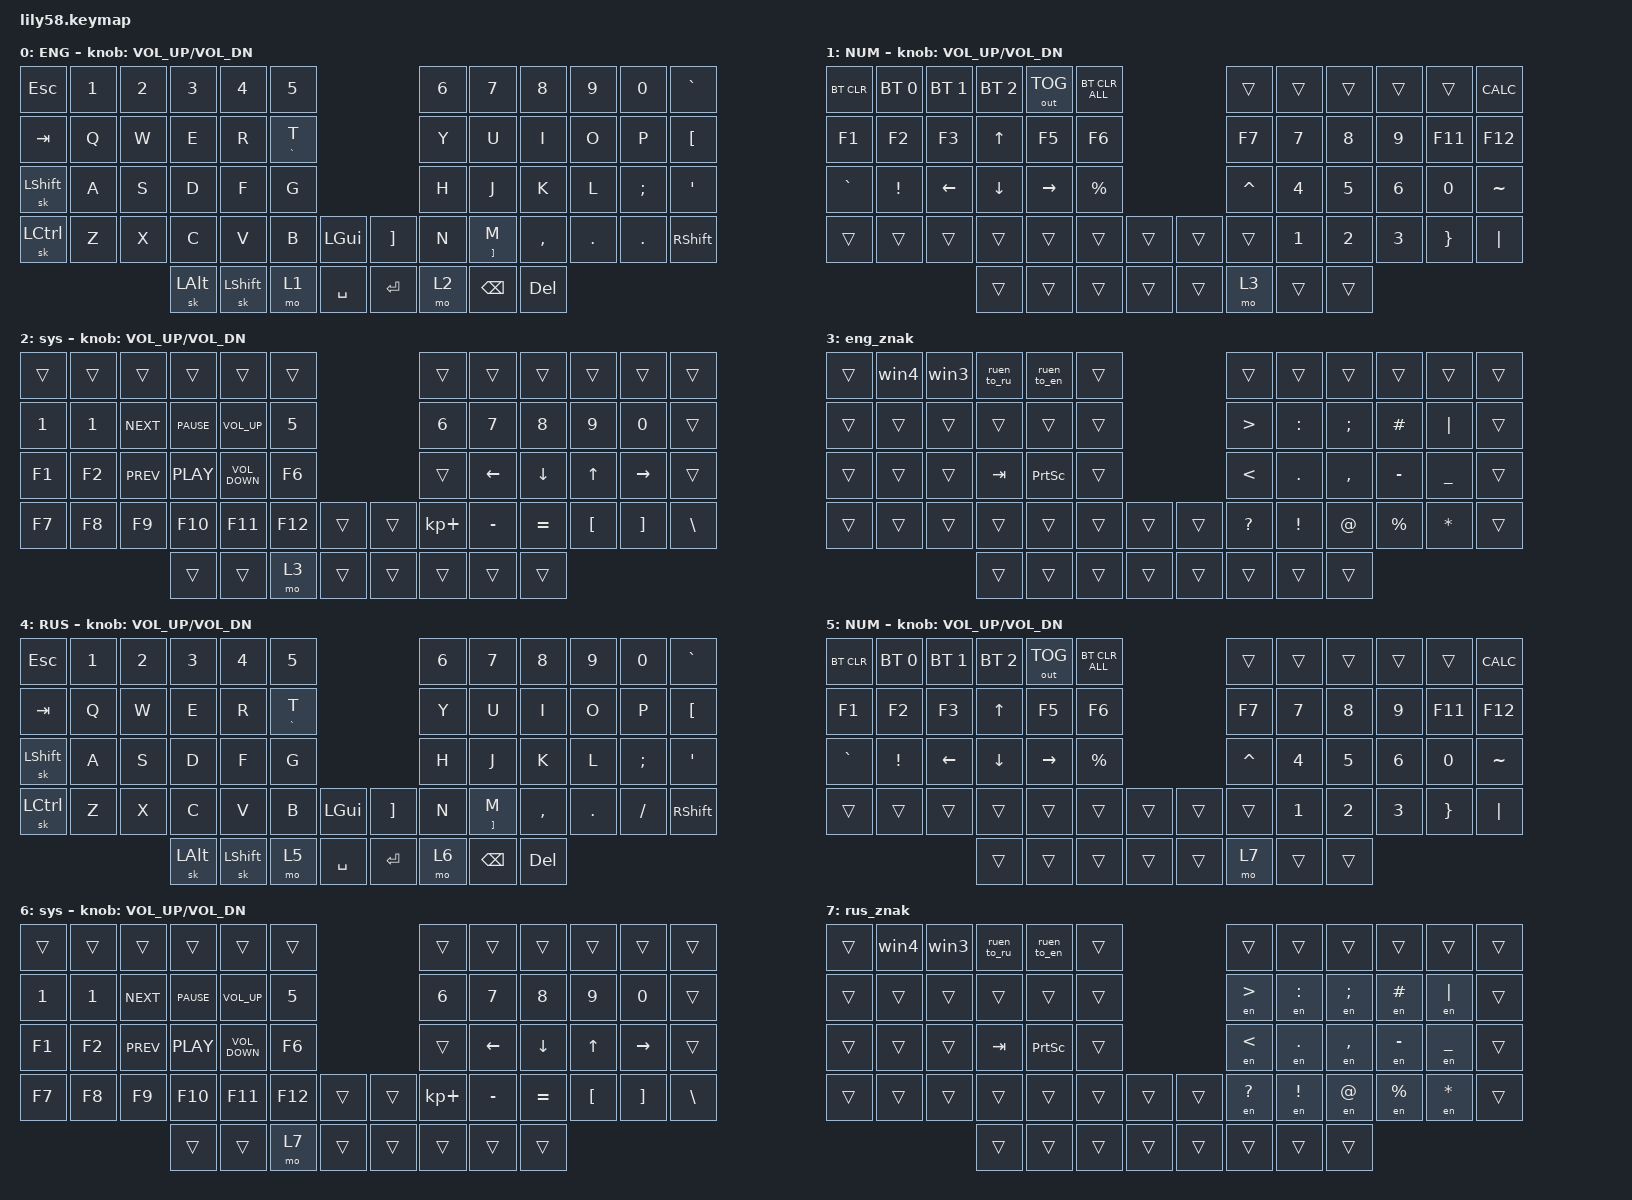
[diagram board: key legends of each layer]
/*
 * Copyright (c) 2020 The ZMK Contributors
 *
 * SPDX-License-Identifier: MIT
 */

#include <behaviors/ruen.dtsi>
#include <behaviors.dtsi>
#include <dt-bindings/zmk/bt.h>
#include <dt-bindings/zmk/keys.h>
#include <dt-bindings/zmk/outputs.h>

/ {
    combos {
        compatible = "zmk,combos";

        z {
            bindings = <&kp LEFT_PARENTHESIS>;
            key-positions = <27 28>;
            layers = <0 4>;
        };

        z1 {
            bindings = <&kp RIGHT_PARENTHESIS>;
            key-positions = <31 32>;
            layers = <0 4>;
        };

        slash_eng {
            bindings = <&kp BACKSLASH>;
            key-positions = <40 39>;
            layers = <0>;
        };

        rev_slash_eng {
            bindings = <&kp SLASH>;
            key-positions = <45 46>;
            layers = <0>;
        };

        cmben {
            bindings = <&layer_en>;
            key-positions = <15 16>;
            layers = <4>;
        };

        cmbru {
            bindings = <&layer_ru>;
            key-positions = <15 16>;
            layers = <0>;
        };

        slash_rus {
            bindings = <&en BACKSLASH>;
            key-positions = <40 39>;
            layers = <4>;
        };

        rev_slash_rus {
            bindings = <&en SLASH>;
            key-positions = <45 46>;
            layers = <4>;
        };

        z2 {
            bindings = <&en LEFT_BRACKET>;
            key-positions = <27 28>;
            layers = <1 5>;
        };

        z3 {
            bindings = <&en RIGHT_BRACKET>;
            key-positions = <31 32>;
            layers = <1 5>;
        };

        z4 {
            bindings = <&en LEFT_BRACE>;
            key-positions = <27 28>;
            layers = <2 6>;
        };

        z5 {
            bindings = <&en RIGHT_BRACE>;
            key-positions = <31 32>;
            layers = <2 6>;
        };
    };

    behaviors {
        ss_hs_modmorph: ss_hs_modmorph {
            compatible = "zmk,behavior-mod-morph";
            label = "SS_HS_MODMORPH";
            bindings = <&kp M>, <&kp RIGHT_BRACKET>;

            #binding-cells = <0>;
            mods = <(MOD_LSFT|MOD_RSFT)>;
        };

        kh_hs_tapdance: kh_hs_tapdance {
            compatible = "zmk,behavior-tap-dance";
            label = "KH_HS_TAPDANCE";
            #binding-cells = <0>;
            tapping-term-ms = <200>;
            bindings = <&kp LEFT_BRACKET>, <&kp RIGHT_BRACKET>;
        };

        hrm: hrm {
            compatible = "zmk,behavior-hold-tap";
            #binding-cells = <2>;
            flavor = "tap-preferred";
            tapping-term-ms = <200>;
            quick-tap-ms = <200>;
            require-prior-idle-ms = <125>;
            bindings = <&kp>, <&kp>;
        };

        out_toggle: out_toggle {
            compatible = "zmk,output-selector";
            label = "OUT_TOGGLE";
            #binding-cells = <0>;
            toggle = <1>;  // Включаем режим переключения
        };

        ruen_to_en: ruen_to_en {
            compatible = "zmk,behavior-macro";
            #binding-cells = <0>;
            bindings = <&kp LS(LG(NUMBER_1))>; // Ваш хоткей для переключения на английский
        };

        ruen_to_ru: ruen_to_ru {
            compatible = "zmk,behavior-macro";
            #binding-cells = <0>;
            bindings = <&kp LS(LG(NUMBER_2))>; // Ваш хоткей для переключения на русский
        };
    };

    macros {
        to_ru: to_ru {
            compatible = "zmk,behavior-macro";
            #binding-cells = <0>;
            bindings = <&kp LS(LC(N2))>;
            label = "TO_RU";
            wait-ms = <100>;
            tap-ms = <100>;
        };

        to_en: to_en {
            compatible = "zmk,behavior-macro";
            #binding-cells = <0>;
            bindings = <&kp LS(LC(N1))>;
            label = "TO_EN";
            wait-ms = <100>;
            tap-ms = <100>;
        };

        layer_en: layer_en {
            compatible = "zmk,behavior-macro";
            #binding-cells = <0>;
            bindings = <&to 0 &to_en>;
            label = "LAYER_EN";
            wait-ms = <100>;
            tap-ms = <100>;
        };

        layer_ru: layer_ru {
            compatible = "zmk,behavior-macro";
            #binding-cells = <0>;
            bindings = <&to 4 &to_ru>;
            label = "LAYER_RU";
            tap-ms = <100>;
            wait-ms = <100>;
        };

        en: en {
            compatible = "zmk,behavior-macro-one-param";
            #binding-cells = <1>;
            bindings =
                <&to_en>,
                <&macro_press>,
                <&macro_param_1to1 &kp MACRO_PLACEHOLDER>,
                <&macro_pause_for_release>,
                <&macro_release>,
                <&macro_param_1to1 &kp MACRO_PLACEHOLDER>,
                <&macro_tap>,
                <&to_ru>;

            label = "EN";
            wait-ms = <100>;
            tap-ms = <100>;
        };

        win3: win3 {
            compatible = "zmk,behavior-macro";
            #binding-cells = <0>;
            bindings = <&kp LS(LG(NUMBER_3))>;
            label = "WIN3";
        };

        win4: win4 {
            compatible = "zmk,behavior-macro";
            #binding-cells = <0>;
            bindings = <&kp LS(LG(NUMBER_4))>;
            label = "WIN4";
        };
    };

    keymap {
        compatible = "zmk,keymap";

        default_layer {
            // ------------------------------------------------------------------------------------------------------------
            // |  ESC  |  1  |  2  |  3   |  4   |  5   |                   |  6   |  7    |  8    |  9   |   0   |   `   |
            // |  TAB  |  Q  |  W  |  E   |  R   |  T   |                   |  Y   |  U    |  I    |  O   |   P   |   -   |
            // |  CTRL |  A  |  S  |  D   |  F   |  G   |                   |  H   |  J    |  K    |  L   |   ;   |   '   |
            // | SHIFT |  Z  |  X  |  C   |  V   |  B   |   "["  |  |  "]"  |  N   |  M    |  ,    |  .   |   /   | SHIFT |
            //                     | ALT  | GUI  | LOWER|  SPACE |  | ENTER | RAISE| BSPC  | GUI   |

            display-name = "ENG";
            bindings = <
&kp ESC           &kp N1  &kp N2  &kp N3    &kp N4          &kp N5                                  &kp N6  &kp N7                &kp N8     &kp N9   &kp N0    &kp GRAVE
&kp TAB           &kp Q   &kp W   &kp E     &kp R           &hrm GRAVE T                            &kp Y   &kp U                 &kp I      &kp O    &kp P     &kp LEFT_BRACKET
&sk LEFT_SHIFT    &kp A   &kp S   &kp D     &kp F           &kp G                                   &kp H   &kp J                 &kp K      &kp L    &kp SEMI  &kp SQT
&sk LEFT_CONTROL  &kp Z   &kp X   &kp C     &kp V           &kp B         &kp LEFT_GUI    &kp RBKT  &kp N   &hrm RIGHT_BRACKET M  &kp COMMA  &kp DOT  &kp DOT   &kp RSHFT
                                  &sk LALT  &sk LEFT_SHIFT  &mo 1         &kp SPACE       &kp RET   &mo 2   &kp BSPC              &kp DEL
            >;

            sensor-bindings = <&inc_dec_kp C_VOL_UP C_VOL_DN>;
        };

        lower_layer {
            // ------------------------------------------------------------------------------------------------------------
            // | BTCLR | BT1 | BT2 |  BT3 |  BT4 |  BT5 |                   |      |       |       |      |       |       |
            // |  F1   |  F2 |  F3 |  F4  |  F5  |  F6  |                   |  F7  |  F8   |  F9   |  F10 |  F11  |  F12  |
            // |   `   |  !  |  @  |  #   |  $   |  %   |                   |  ^   |  &    |  *    |  (   |   )   |   ~   |
            // |       |     |     |      |      |      |        |  |       |      |  _    |  +    |  {   |   }   |  "|"  |
            //                     |      |      |      |        |  |       |      |       |       |

            display-name = "NUM";
            bindings = <
&bt BT_CLR  &bt BT_SEL 0  &bt BT_SEL 1    &bt BT_SEL 2    &out OUT_TOG     &bt BT_CLR_ALL                    &trans     &trans        &trans        &trans        &trans    &kp K_CALC
&kp F1      &kp F2        &kp F3          &kp UP_ARROW    &kp F5           &kp F6                            &kp F7     &kp N7        &kp N8        &kp N9        &kp F11   &kp F12
&kp GRAVE   &kp EXCL      &kp LEFT_ARROW  &kp DOWN_ARROW  &kp RIGHT_ARROW  &kp PRCNT                         &kp CARET  &kp NUMBER_4  &kp N5        &kp NUMBER_6  &kp N0    &kp TILDE
&trans      &trans        &trans          &trans          &trans           &trans          &trans    &trans  &trans     &kp NUMBER_1  &kp NUMBER_2  &kp NUMBER_3  &kp RBRC  &kp PIPE
                                          &trans          &trans           &trans          &trans    &trans  &mo 3      &trans        &trans
            >;

            sensor-bindings = <&inc_dec_kp C_VOL_UP C_VOL_DN>;
        };

        raise_layer {
            // ------------------------------------------------------------------------------------------------------------
            // |       |     |     |      |      |      |                   |      |       |       |      |       |       |
            // |   `   |  1  |  2  |  3   |  4   |  5   |                   |  6   |   7   |   8   |  9   |   0   |       |
            // |   F1  |  F2 |  F3 |  F4  |  F5  |  F6  |                   |      |   <-  |   v   |  ^   |  ->   |       |
            // |   F7  |  F8 |  F9 |  F10 |  F11 |  F12 |        |  |       |  +   |   -   |   =   |  [   |   ]   |   \   |
            //                     |      |      |      |        |  |       |      |       |       |

            display-name = "sys";
            bindings = <
&trans        &trans  &trans      &trans       &trans             &trans                     &trans       &trans     &trans     &trans    &trans     &trans
&kp NUMBER_1  &kp N1  &kp C_NEXT  &kp C_PAUSE  &kp C_VOLUME_UP    &kp N5                     &kp N6       &kp N7     &kp N8     &kp N9    &kp N0     &trans
&kp F1        &kp F2  &kp C_PREV  &kp C_PLAY   &kp C_VOLUME_DOWN  &kp F6                     &trans       &kp LEFT   &kp DOWN   &kp UP    &kp RIGHT  &trans
&kp F7        &kp F8  &kp F9      &kp F10      &kp F11            &kp F12  &trans    &trans  &kp KP_PLUS  &kp MINUS  &kp EQUAL  &kp LBKT  &kp RBKT   &kp BSLH
                                  &trans       &trans             &mo 3    &trans    &trans  &trans       &trans     &trans
            >;

            sensor-bindings = <&inc_dec_kp C_VOL_UP C_VOL_DN>;
        };

        eng_znak {
            bindings = <
&trans  &win4   &win3   &ruen_to_ru  &ruen_to_en      &trans                    &trans            &trans           &trans         &trans       &trans          &trans
&trans  &trans  &trans  &trans       &trans           &trans                    &kp GREATER_THAN  &kp COLON        &kp SEMICOLON  &kp HASH     &kp PIPE        &trans
&trans  &trans  &trans  &kp TAB      &kp PRINTSCREEN  &trans                    &kp LESS_THAN     &kp PERIOD       &kp COMMA      &kp MINUS    &kp UNDERSCORE  &trans
&trans  &trans  &trans  &trans       &trans           &trans  &trans    &trans  &kp QUESTION      &kp EXCLAMATION  &kp AT_SIGN    &kp PERCENT  &kp ASTERISK    &trans
                        &trans       &trans           &trans  &trans    &trans  &trans            &trans           &trans
            >;

            label = "eng_znak";
        };

        layer_3 {
            display-name = "RUS";
            bindings = <
&kp ESC           &kp N1  &kp N2  &kp N3    &kp N4          &kp N5                                  &kp N6  &kp N7                &kp N8     &kp N9   &kp N0    &kp GRAVE
&kp TAB           &kp Q   &kp W   &kp E     &kp R           &hrm GRAVE T                            &kp Y   &kp U                 &kp I      &kp O    &kp P     &kp LEFT_BRACKET
&sk LEFT_SHIFT    &kp A   &kp S   &kp D     &kp F           &kp G                                   &kp H   &kp J                 &kp K      &kp L    &kp SEMI  &kp SQT
&sk LEFT_CONTROL  &kp Z   &kp X   &kp C     &kp V           &kp B         &kp LEFT_GUI    &kp RBKT  &kp N   &hrm RIGHT_BRACKET M  &kp COMMA  &kp DOT  &kp FSLH  &kp RSHFT
                                  &sk LALT  &sk LEFT_SHIFT  &mo 5         &kp SPACE       &kp RET   &mo 6   &kp BSPC              &kp DEL
            >;

            sensor-bindings = <&inc_dec_kp C_VOL_UP C_VOL_DN>;
        };

        layer_4 {
            display-name = "NUM";
            bindings = <
&bt BT_CLR  &bt BT_SEL 0  &bt BT_SEL 1    &bt BT_SEL 2    &out OUT_TOG     &bt BT_CLR_ALL                    &trans     &trans        &trans        &trans        &trans    &kp K_CALC
&kp F1      &kp F2        &kp F3          &kp UP_ARROW    &kp F5           &kp F6                            &kp F7     &kp N7        &kp N8        &kp N9        &kp F11   &kp F12
&kp GRAVE   &kp EXCL      &kp LEFT_ARROW  &kp DOWN_ARROW  &kp RIGHT_ARROW  &kp PRCNT                         &kp CARET  &kp NUMBER_4  &kp N5        &kp NUMBER_6  &kp N0    &kp TILDE
&trans      &trans        &trans          &trans          &trans           &trans          &trans    &trans  &trans     &kp NUMBER_1  &kp NUMBER_2  &kp NUMBER_3  &kp RBRC  &kp PIPE
                                          &trans          &trans           &trans          &trans    &trans  &mo 7      &trans        &trans
            >;

            sensor-bindings = <&inc_dec_kp C_VOL_UP C_VOL_DN>;
        };

        layer_5 {
            display-name = "sys";
            bindings = <
&trans        &trans  &trans      &trans       &trans             &trans                     &trans       &trans     &trans     &trans    &trans     &trans
&kp NUMBER_1  &kp N1  &kp C_NEXT  &kp C_PAUSE  &kp C_VOLUME_UP    &kp N5                     &kp N6       &kp N7     &kp N8     &kp N9    &kp N0     &trans
&kp F1        &kp F2  &kp C_PREV  &kp C_PLAY   &kp C_VOLUME_DOWN  &kp F6                     &trans       &kp LEFT   &kp DOWN   &kp UP    &kp RIGHT  &trans
&kp F7        &kp F8  &kp F9      &kp F10      &kp F11            &kp F12  &trans    &trans  &kp KP_PLUS  &kp MINUS  &kp EQUAL  &kp LBKT  &kp RBKT   &kp BSLH
                                  &trans       &trans             &mo 7    &trans    &trans  &trans       &trans     &trans
            >;

            sensor-bindings = <&inc_dec_kp C_VOL_UP C_VOL_DN>;
        };

        layer_7 {
            bindings = <
&trans  &win4   &win3   &ruen_to_ru  &ruen_to_en      &trans                    &trans            &trans           &trans         &trans       &trans          &trans
&trans  &trans  &trans  &trans       &trans           &trans                    &en GREATER_THAN  &en COLON        &en SEMICOLON  &en HASH     &en PIPE        &trans
&trans  &trans  &trans  &kp TAB      &kp PRINTSCREEN  &trans                    &en LESS_THAN     &en PERIOD       &en COMMA      &en MINUS    &en UNDERSCORE  &trans
&trans  &trans  &trans  &trans       &trans           &trans  &trans    &trans  &en QUESTION      &en EXCLAMATION  &en AT_SIGN    &en PERCENT  &en ASTERISK    &trans
                        &trans       &trans           &trans  &trans    &trans  &trans            &trans           &trans
            >;

            label = "rus_znak";
        };
    };
};
